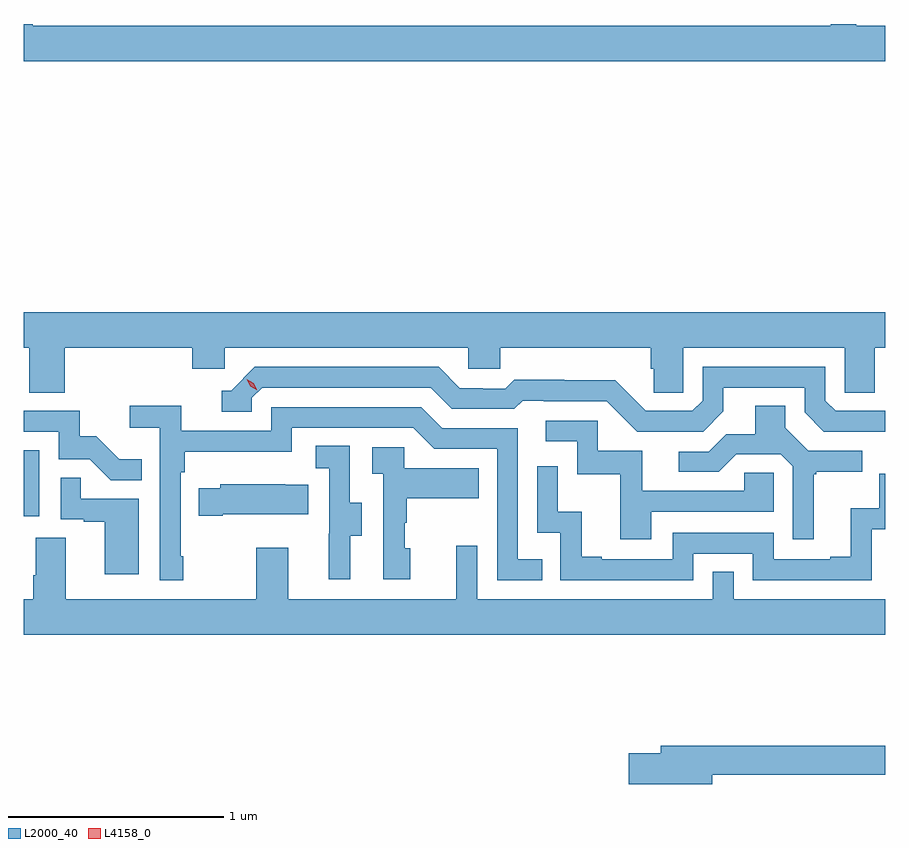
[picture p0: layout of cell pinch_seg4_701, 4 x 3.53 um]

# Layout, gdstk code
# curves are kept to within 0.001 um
import gdstk
lib = gdstk.Library(unit=1e-6, precision=1e-09)
def R(c, l, rs):  # rectangles x0, y0, x1, y1
    for r in rs: c.add(gdstk.rectangle(r[:2], r[2:], *l))
def P(c, l, *ps):  # polygons
    for p in ps: c.add(gdstk.Polygon(p, *l))
L2000_40 = (2000, 40)
L4158_0 = (4158, 0)

pinch_seg4_701 = lib.new_cell('pinch_seg4_701')
R(pinch_seg4_701, L2000_40, [(1090.042,761.406,1090.114,761.713)])
P(pinch_seg4_701, L2000_40, [(1094.042,763.684),(1093.907,763.684),(1093.907,763.692),(1093.789,763.692),(1093.789,763.684),(1090.082,763.684),(1090.082,763.692),(1090.042,763.692),(1090.042,763.52),(1094.042,763.52)],
  [(1090.042,762.188),(1090.067,762.188),(1090.067,761.98),(1090.232,761.98),(1090.232,762.188),(1090.823,762.188),(1090.823,762.09),(1090.974,762.09),(1090.974,762.188),(1092.105,762.188),(1092.105,762.09),(1092.255,762.09),(1092.255,762.188),(1092.953,762.188),(1092.953,762.09),(1092.967,762.09),(1092.967,761.98),(1093.104,761.98),(1093.104,762.188),(1093.854,762.188),(1093.854,761.98),(1093.993,761.98),(1093.993,762.188),(1094.042,762.188),(1094.042,762.352),(1090.042,762.352)],
  [(1094.042,761.895),(1093.812,761.895),(1093.764,761.943),(1093.764,762.099),(1093.194,762.099),(1093.194,761.943),(1093.146,761.895),(1092.93,761.895),(1092.788,762.037),(1092.552,762.037),(1092.552,762.04),(1092.319,762.04),(1092.277,761.997),(1092.174,761.997),(1092.174,762),(1092.067,762),(1091.968,762.099),(1091.115,762.099),(1091.004,761.988),(1090.961,761.988),(1090.961,761.892),(1091.1,761.892),(1091.1,761.955),(1091.148,762.003),(1091.931,762.003),(1092.03,761.904),(1092.319,761.904),(1092.358,761.943),(1092.457,761.943),(1092.457,761.94),(1092.75,761.94),(1092.891,761.799),(1093.197,761.799),(1093.291,761.893),(1093.291,762.003),(1093.668,762.003),(1093.668,761.889),(1093.758,761.799),(1094.042,761.798)],
  [(1090.783,761.221),(1090.77,761.221),(1090.77,761.609),(1090.79,761.609),(1090.79,761.705),(1091.286,761.705),(1091.286,761.817),(1091.85,761.817),(1091.949,761.718),(1092.24,761.718),(1092.24,761.109),(1092.449,761.109),(1092.449,761.205),(1092.336,761.205),(1092.336,761.814),(1091.986,761.814),(1091.887,761.913),(1091.19,761.913),(1091.19,761.802),(1090.772,761.802),(1090.772,761.918),(1090.533,761.918),(1090.533,761.816),(1090.674,761.816),(1090.674,761.109),(1090.783,761.109)],
  [(1093.711,761.601),(1093.723,761.601),(1093.723,761.612),(1093.936,761.612),(1093.936,761.709),(1093.686,761.709),(1093.579,761.816),(1093.579,761.918),(1093.439,761.918),(1093.439,761.786),(1093.304,761.786),(1093.224,761.706),(1093.083,761.706),(1093.083,761.613),(1093.27,761.613),(1093.351,761.694),(1093.557,761.694),(1093.614,761.637),(1093.614,761.298),(1093.711,761.298)],
  [(1090.589,761.671),(1090.485,761.671),(1090.378,761.778),(1090.302,761.778),(1090.302,761.895),(1090.042,761.895),(1090.042,761.799),(1090.203,761.799),(1090.203,761.67),(1090.347,761.67),(1090.445,761.572),(1090.589,761.572)],
  [(1092.955,761.427),(1093.524,761.427),(1093.524,761.607),(1093.387,761.607),(1093.387,761.523),(1092.913,761.523),(1092.913,761.709),(1092.708,761.709),(1092.708,761.85),(1092.465,761.85),(1092.465,761.754),(1092.612,761.754),(1092.612,761.601),(1092.811,761.601),(1092.811,761.298),(1092.955,761.298)],
  [(1091.557,761.314),(1091.611,761.314),(1091.611,761.469),(1091.556,761.469),(1091.556,761.732),(1091.397,761.732),(1091.397,761.629),(1091.46,761.629),(1091.46,761.325),(1091.459,761.325),(1091.459,761.112),(1091.557,761.112)],
  [(1091.836,761.256),(1091.811,761.256),(1091.811,761.375),(1091.821,761.375),(1091.821,761.489),(1092.155,761.489),(1092.155,761.629),(1091.808,761.629),(1091.808,761.727),(1091.661,761.727),(1091.661,761.603),(1091.712,761.603),(1091.712,761.112),(1091.836,761.112)],
  [(1093.152,761.232),(1093.428,761.232),(1093.428,761.109),(1093.98,761.109),(1093.98,761.345),(1094.042,761.345),(1094.042,761.604),(1094.016,761.604),(1094.016,761.443),(1093.883,761.443),(1093.883,761.218),(1093.787,761.218),(1093.787,761.205),(1093.524,761.205),(1093.524,761.328),(1093.056,761.328),(1093.056,761.205),(1092.727,761.205),(1092.727,761.218),(1092.632,761.218),(1092.632,761.426),(1092.522,761.426),(1092.522,761.638),(1092.426,761.638),(1092.426,761.328),(1092.534,761.328),(1092.534,761.109),(1093.152,761.109)],
  [(1090.576,761.487),(1090.307,761.487),(1090.307,761.585),(1090.212,761.585),(1090.212,761.391),(1090.319,761.391),(1090.319,761.379),(1090.418,761.379),(1090.418,761.136),(1090.576,761.136)],
  [(1090.966,761.414),(1091.363,761.414),(1091.363,761.551),(1091.255,761.551),(1091.255,761.554),(1090.953,761.554),(1090.953,761.536),(1090.855,761.536),(1090.855,761.407),(1090.966,761.407)],
  [(1094.042,761.02),(1093.338,761.02),(1093.338,761.147),(1093.242,761.147),(1093.242,761.02),(1092.147,761.02),(1092.147,761.269),(1092.05,761.269),(1092.05,761.02),(1091.269,761.02),(1091.269,761.26),(1091.122,761.26),(1091.122,761.02),(1090.237,761.02),(1090.237,761.306),(1090.097,761.306),(1090.097,761.132),(1090.085,761.132),(1090.085,761.02),(1090.042,761.02),(1090.042,760.856),(1094.042,760.856)],
  [(1093.24,760.204),(1094.042,760.204),(1094.042,760.34),(1093.001,760.34),(1093.001,760.304),(1092.852,760.304),(1092.852,760.162),(1093.24,760.162)])
P(pinch_seg4_701, L4158_0, [(1091.125,761.99),(1091.094,762.009),(1091.078,762.042),(1091.078,762.042),(1091.078,762.042),(1091.109,762.023),(1091.126,761.991),(1091.126,761.99)])

lib.write_gds('pinch_seg4_701.gds')
